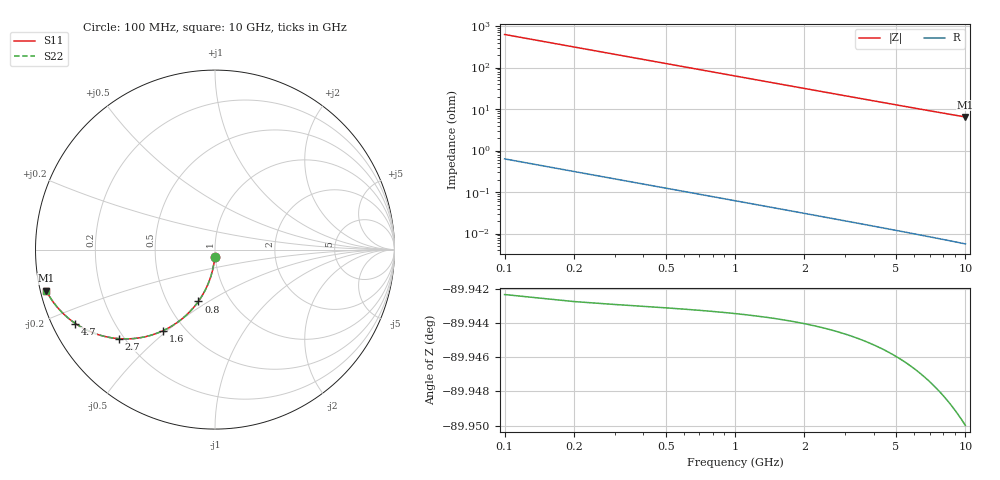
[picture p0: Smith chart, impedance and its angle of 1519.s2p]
# Hz S RI R 50.00
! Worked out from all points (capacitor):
!   100 points, 100 MHz to 10 GHz, reference 50 ohm
!   read as one part in shunt: C = 2.54 pF near 100 MHz
!   lowest |Z| = 6.45 ohm at 10 GHz (marker M1)
!   S11 on the Smith chart (normalised r, x): 100 MHz: 0.99, -0.08; 800 MHz: 0.71, -0.45; 1.6 GHz: 0.38, -0.48; 2.7 GHz: 0.18, -0.38; 4.7 GHz: 0.07, -0.25; 10 GHz: 0.02, -0.12
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1e8  -0.00159 -0.0397  0.9983 -0.0399  0.9983 -0.0399  -0.00159 -0.0397
2e8  -0.00636 -0.079  0.9936 -0.0793  0.9936 -0.0793  -0.00636 -0.079
3e8  -0.0142 -0.1176  0.9858 -0.1181  0.9858 -0.1181  -0.0142 -0.1176
4e8  -0.0249 -0.1551  0.975 -0.1557  0.975 -0.1557  -0.0249 -0.1551
5e8  -0.0383 -0.1912  0.9616 -0.1919  0.9616 -0.1919  -0.0383 -0.1912
6e8  -0.0542 -0.2256  0.9457 -0.2265  0.9457 -0.2265  -0.0542 -0.2256
8e8  -0.0924 -0.2886  0.9075 -0.2898  0.9075 -0.2898  -0.0924 -0.2886
1e9  -0.1372 -0.3428  0.8627 -0.3443  0.8627 -0.3443  -0.1372 -0.3428
1.2e9  -0.1862 -0.3879  0.8137 -0.3897  0.8137 -0.3897  -0.1862 -0.3879
1.4e9  -0.2374 -0.424  0.7625 -0.4261  0.7625 -0.4261  -0.2374 -0.424
1.6e9  -0.289 -0.4516  0.7109 -0.454  0.7109 -0.454  -0.289 -0.4516
1.8e9  -0.3396 -0.4717  0.6603 -0.4744  0.6603 -0.4744  -0.3396 -0.4717
2.2e9  -0.4343 -0.4935  0.5657 -0.4968  0.5657 -0.4968  -0.4343 -0.4935
2.7e9  -0.536 -0.4962  0.4639 -0.5002  0.4639 -0.5002  -0.536 -0.4962
3.4e9  -0.6467 -0.4749  0.3532 -0.48  0.3532 -0.48  -0.6467 -0.4749
4e9  -0.7169 -0.447  0.283 -0.453  0.283 -0.453  -0.7169 -0.447
4.7e9  -0.7775 -0.4119  0.2224 -0.4189  0.2224 -0.4189  -0.7775 -0.4119
5.1e9  -0.8044 -0.3923  0.1955 -0.3999  0.1955 -0.3999  -0.8044 -0.3923
5.8e9  -0.8417 -0.3601  0.1582 -0.3688  0.1582 -0.3688  -0.8417 -0.3601
6.7e9  -0.8765 -0.3234  0.1234 -0.3335  0.1234 -0.3335  -0.8765 -0.3234
8.4e9  -0.9178 -0.2677  0.0821 -0.2805  0.0821 -0.2805  -0.9178 -0.2677
1e10  -0.9406 -0.2279  0.0592 -0.2433  0.0592 -0.2433  -0.9406 -0.2279
